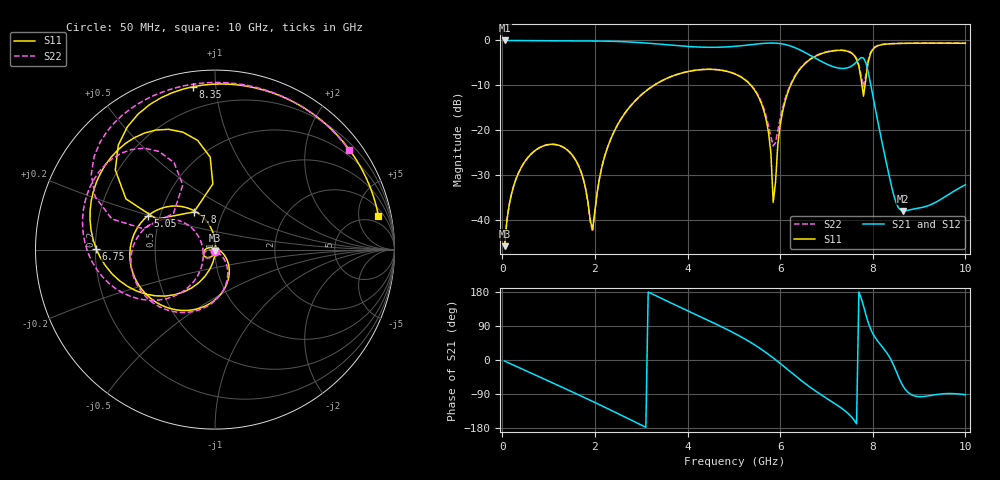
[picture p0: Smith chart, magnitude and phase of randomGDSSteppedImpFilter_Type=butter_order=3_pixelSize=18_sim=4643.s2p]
! freq	dB(S11)	phase(S11)	dB(S12)	phase(S12)
!  dB(S21)	phase(S21)	dB(S22)	phase(S22)
!S-par simulation data
#  GHz  S  DB  R 50
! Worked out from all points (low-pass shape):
!   200 points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, 50 MHz to 10 GHz, reference 50 ohm
!   highest |S21| = -0.01 dB at 50 MHz (marker M1); lowest = -37.9 dB at 8.65 GHz (marker M2)
!   |S21| within 3 dB of the highest: start of sweep to 6.596 GHz
!   lowest |S11| = -45.7 dB at 50 MHz (marker M3), VSWR 1.01, Z = 50 - j0.518 ohm
!   |S11| at or under -10 dB: start of sweep to 3.272 GHz; 5.369 GHz to 6.226 GHz (856.7 MHz wide, 14.8 % of centre); 7.767 GHz to 7.832 GHz (64.9 MHz wide, 0.832 % of centre)
!   |S22| runs from -45.7 to -0.6 dB; largest |S21 - S12| = 0
!   S11 on the Smith chart (normalised r, x): 50 MHz: 1.00, -0.01; 5.05 GHz: 0.43, +0.20; 6.75 GHz: 0.20, +0.00; 7.8 GHz: 0.73, +0.33; 8.35 GHz: 0.08, +0.87; 10 GHz: 3.09, +8.65
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0.05  -45.72 -89.7  -0.01 -2.8  -0.01 -2.8  -45.71 -89.4
0.25  -32.19 -104.0  -0.02 -14.0  -0.02 -14.0  -32.19 -102.9
0.65  -24.97 -128.2  -0.06 -36.2  -0.06 -36.2  -24.97 -125.2
1.3  -23.64 -167.5  -0.10 -72.3  -0.10 -72.3  -23.65 -158.9
1.75  -30.80 157.0  -0.12 -97.7  -0.12 -97.7  -30.89 -174.9
1.95  -42.06 58.6  -0.13 -109.2  -0.13 -109.2  -42.50 -96.3
2.15  -28.14 -20.5  -0.15 -120.9  -0.15 -120.9  -28.10 -42.2
2.4  -20.57 -42.3  -0.20 -135.7  -0.20 -135.7  -20.53 -50.3
3.4  -9.22 -107.0  -0.83 164.6  -0.83 164.6  -9.20 -104.6
5.05  -7.58 153.1  -1.29 68.1  -1.29 68.1  -7.53 166.1
5.65  -15.66 106.3  -0.65 23.5  -0.65 23.5  -15.18 137.0
5.8  -25.04 90.4  -0.58 10.1  -0.58 10.1  -21.47 153.7
5.85  -35.96 78.0  -0.58 5.4  -0.58 5.4  -23.43 177.3
6.1  -13.78 -116.0  -0.89 -19.1  -0.89 -19.1  -13.20 -123.7
6.7  -3.87 -176.0  -3.60 -76.4  -3.60 -76.4  -3.79 -166.7
6.75  -3.58 179.5  -3.89 -80.7  -3.89 -80.7  -3.50 -170.5
7.5  -2.58 116.4  -5.92 -144.8  -5.92 -144.8  -2.51 134.1
7.8  -12.39 119.0  -3.90 142.7  -3.90 142.7  -10.26 138.8
7.95  -2.96 141.4  -9.52 82.7  -9.52 82.7  -2.73 156.2
8.35  -0.76 97.7  -29.90 10.0  -29.90 10.0  -0.74 117.5
8.65  -0.65 78.8  -37.87 -68.3  -37.87 -68.3  -0.64 100.4
10  -0.63 11.7  -32.07 -91.6  -32.07 -91.6  -0.63 36.7
